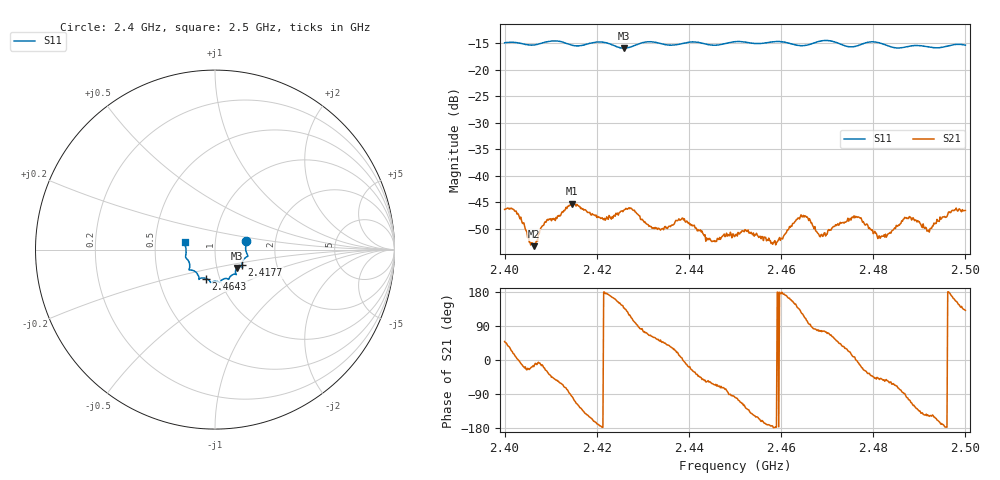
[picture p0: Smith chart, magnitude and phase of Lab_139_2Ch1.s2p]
# Hz S RI R 50
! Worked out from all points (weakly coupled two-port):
!   601 points, 2.4 GHz to 2.5 GHz, reference 50 ohm
!   highest |S21| = -45.26 dB at 2.4147 GHz (marker M1); lowest = -53.3 dB at 2.4063 GHz (marker M2)
!   lowest |S11| = -16.0 dB at 2.4258 GHz (marker M3), VSWR 1.38, Z = 62.4 - j13.1 ohm
!   |S11| at or under -10 dB: start of sweep to end of sweep
!   S12 and S22 are empty: the file has one direction only
!   S11 on the Smith chart (normalised r, x): 2.4 GHz: 1.41, +0.14; 2.4177 GHz: 1.33, -0.23; 2.4643 GHz: 0.86, -0.29; 2.5 GHz: 0.71, +0.06
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2.4e9  0.1728 0.048  0.00316 0.00362  0 0  0 0
2.4025e9  0.1764 0.0382  0.00461 0.000592  0 0  0 0
2.406333e9  0.1711 -0.00113  0.00206 -0.000654  0 0  0 0
2.409167e9  0.1809 -0.0303  0.00334 -0.00186  0 0  0 0
2.414667e9  0.1622 -0.0514  -0.000655 -0.00542  0 0  0 0
2.416667e9  0.1522 -0.0733  -0.00309 -0.00388  0 0  0 0
2.417667e9  0.1513 -0.0846  -0.00371 -0.00289  0 0  0 0
2.4215e9  0.1534 -0.097  -0.00385 4.38e-05  0 0  0 0
2.425833e9  0.1221 -0.1024  -0.00347 0.0032  0 0  0 0
2.433333e9  0.1139 -0.1375  0.00185 0.0026  0 0  0 0
2.4385e9  0.0801 -0.1569  0.00396 0.000362  0 0  0 0
2.445167e9  0.055 -0.1613  0.00112 -0.00214  0 0  0 0
2.45e9  0.0279 -0.1818  -0.000416 -0.00265  0 0  0 0
2.458667e9  -0.0226 -0.1829  -0.00244 -9.12e-05  0 0  0 0
2.464333e9  -0.0493 -0.1611  -0.00249 0.00348  0 0  0 0
2.466667e9  -0.0761 -0.1585  0.000179 0.00358  0 0  0 0
2.468667e9  -0.0885 -0.1645  0.000601 0.00272  0 0  0 0
2.476333e9  -0.1195 -0.1169  0.00411 -4.01e-05  0 0  0 0
2.483333e9  -0.1404 -0.0903  0.00154 -0.00239  0 0  0 0
2.487e9  -0.1547 -0.0541  -0.000207 -0.00399  0 0  0 0
2.492167e9  -0.1617 -0.0242  -0.00251 -0.00152  0 0  0 0
2.5e9  -0.1647 0.0439  -0.00309 0.00354  0 0  0 0
